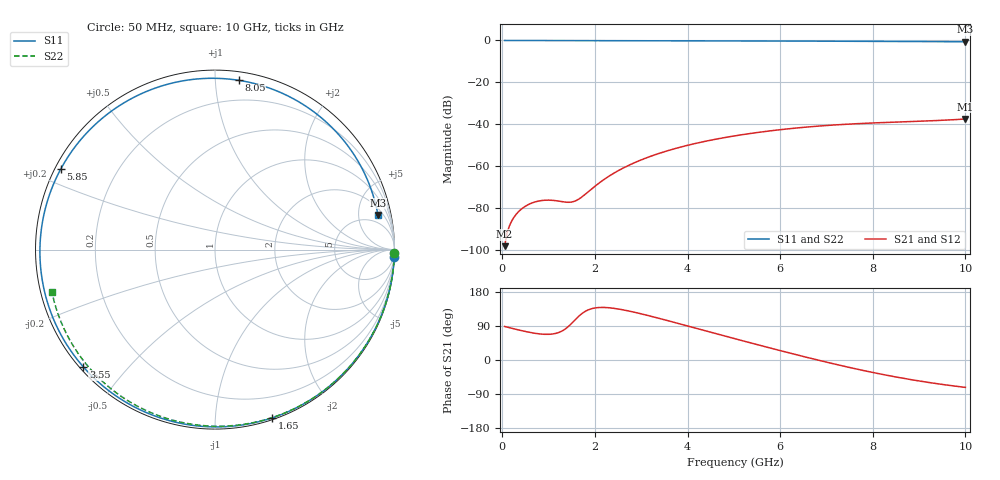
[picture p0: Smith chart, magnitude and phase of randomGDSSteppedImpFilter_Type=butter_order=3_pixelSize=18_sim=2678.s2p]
! freq	dB(S11)	phase(S11)	dB(S12)	phase(S12)
!  dB(S21)	phase(S21)	dB(S22)	phase(S22)
!S-par simulation data
#  GHz  S  DB  R 50
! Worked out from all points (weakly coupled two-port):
!   200 points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, 50 MHz to 10 GHz, reference 50 ohm
!   highest |S21| = -37.53 dB at 10 GHz (marker M1); lowest = -98.3 dB at 50 MHz (marker M2)
!   lowest |S11| = -0.6 dB at 10 GHz (marker M3), VSWR 26.82, Z = 151 + j422 ohm
!   |S11| at or under -10 dB: nowhere
!   |S22| runs from -0.5 to 0.0 dB; largest |S21 - S12| = 0
!   S11 on the Smith chart (normalised r, x): 50 MHz: 0, -50; 1.65 GHz: 0.01, -1.40; 3.55 GHz: 0.01, -0.38; 5.85 GHz: 0.02, +0.25; 8.05 GHz: 0.06, +1.15; 10 GHz: 3.03, +8.44
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0.05  -0.00 -2.3  -98.29 88.4  -98.29 88.4  -0.00 -0.9
0.45  -0.03 -20.3  -79.93 76.5  -79.93 76.5  -0.01 -8.4
0.75  -0.04 -33.5  -76.90 69.7  -76.90 69.7  -0.02 -13.9
1  -0.06 -44.3  -76.29 67.8  -76.29 67.8  -0.02 -18.6
1.45  -0.08 -63.2  -77.32 91.0  -77.32 91.0  -0.03 -26.8
1.65  -0.09 -71.2  -75.83 115.3  -75.83 115.3  -0.04 -30.4
1.75  -0.09 -75.1  -74.25 125.2  -74.25 125.2  -0.04 -32.2
2.15  -0.11 -90.4  -67.16 138.7  -67.16 138.7  -0.05 -39.4
2.5  -0.12 -103.2  -62.27 134.7  -62.27 134.7  -0.06 -45.6
2.9  -0.13 -117.0  -57.98 124.7  -57.98 124.7  -0.07 -52.6
3.4  -0.15 -133.5  -53.86 109.4  -53.86 109.4  -0.08 -61.2
3.55  -0.15 -138.3  -52.82 104.6  -52.82 104.6  -0.08 -63.7
4.3  -0.19 -161.4  -48.57 79.9  -48.57 79.9  -0.11 -76.2
5.05  -0.22 176.2  -45.47 55.3  -45.47 55.3  -0.14 -88.3
5.85  -0.27 152.5  -43.02 29.6  -43.02 29.6  -0.17 -100.9
6.7  -0.32 126.4  -41.14 3.3  -41.14 3.3  -0.22 -114.0
7.4  -0.37 103.9  -40.07 -17.0  -40.07 -17.0  -0.27 -124.7
8.05  -0.42 82.0  -39.38 -34.2  -39.38 -34.2  -0.33 -134.5
8.35  -0.45 71.6  -39.12 -41.4  -39.12 -41.4  -0.36 -139.1
8.8  -0.49 55.6  -38.77 -51.3  -38.77 -51.3  -0.40 -146.1
9.25  -0.54 39.3  -38.39 -60.1  -38.39 -60.1  -0.45 -153.1
10  -0.65 12.0  -37.53 -72.3  -37.53 -72.3  -0.55 -165.3
